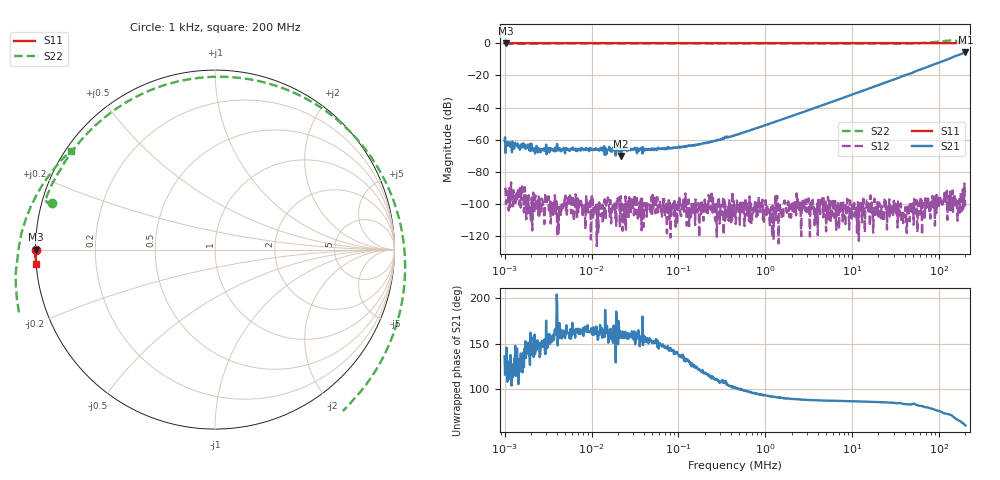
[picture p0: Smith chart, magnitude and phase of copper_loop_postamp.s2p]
! ListType=Log
# MHZ S RI R 50
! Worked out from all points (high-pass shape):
!   1000 points, 1 kHz to 200 MHz, reference 50 ohm
!   highest |S21| = -5.75 dB at 200 MHz (marker M1); lowest = -70.0 dB at 22 kHz (marker M2)
!   |S21| within 3 dB of the highest: 142.2 MHz to end of sweep
!   lowest |S11| = 0.0 dB at 1.025 kHz (marker M3), VSWR 706.66, Z = 0.0708 - j0.0145 ohm
!   |S11| at or under -10 dB: nowhere
!   |S22| runs from -0.5 to 1.7 dB; largest |S21 - S12| = 0.52
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0.001  -0.998 0.000305  -0.00069 0.000656  -1.15e-05 -2.99e-05  -0.9089 0.26
0.0010247  -0.9972 -0.000578  -0.000234 0.000312  -1.57e-05 2.66e-05  -0.9096 0.2591
0.0025621  -0.9989 -0.00058  -0.000304 0.000281  7e-06 -8.7e-06  -0.9314 0.2607
0.0076941  -0.9988 -9.57e-05  -0.000535 0.000175  -2.1e-06 8.4e-06  -0.9422 0.2759
0.0220041  -0.9987 -9.76e-05  -0.000297 0.000104  -3.4e-06 -5.2e-06  -0.9423 0.284
0.0584804  -0.9988 2.76e-05  -0.000501 0.000277  1.1e-06 -7.5e-06  -0.9406 0.2882
0.1632083  -0.9989 -0.000104  -0.000398 0.000575  5.2e-06 -4.6e-06  -0.9394 0.2919
0.4499541  -0.9988 -0.000185  -0.000281 0.00137  1.8e-06 7.1e-06  -0.9349 0.303
3.419952  -0.9991 -0.0015  0.000273 0.00903  -1.8e-06 -7.2e-06  -0.8867 0.4028
12.03851  -0.9993 -0.00491  0.00167 0.0303  -7.5e-06 -3e-07  -0.7122 0.6466
26.31347  -0.9996 -0.0104  0.00492 0.065  3.6e-06 -3.5e-06  -0.3118 0.9064
38.43037  -0.9999 -0.0149  0.00969 0.0948  1.2e-06 -2.3e-06  0.0882 0.9611
50.9003  -0.9995 -0.0193  0.0126 0.1243  -1e-07 -2.3e-06  0.4925 0.8486
64.99008  -0.9999 -0.0252  0.0242 0.1613  6e-06 -3.9e-06  0.8567 0.5339
81.97236  -1 -0.0311  0.039 0.2012  5.3e-06 -7.1e-06  1.057 -0.0223
103.3922  -0.9999 -0.0392  0.0632 0.252  -9.6e-06 -1.12e-05  0.8402 -0.7545
116.8291  -1 -0.0433  0.0821 0.2798  1.25e-05 -4.9e-06  0.4616 -1.075
128.8255  -0.9987 -0.0475  0.0951 0.3071  -1.25e-05 -1.01e-05  0.0311 -1.195
145.5678  -0.9986 -0.0556  0.1287 0.3525  5.8e-06 -1.22e-05  -0.5687 -1.06
164.4859  -0.9991 -0.0622  0.1694 0.3849  4.6e-06 -3.3e-06  -1.028 -0.5582
179.1732  -0.9981 -0.0685  0.2 0.4171  -1.87e-05 -8.8e-06  -1.102 -0.0581
200  -0.9984 -0.078  0.254 0.4488  -1.29e-05 -6.6e-06  -0.8026 0.5506
